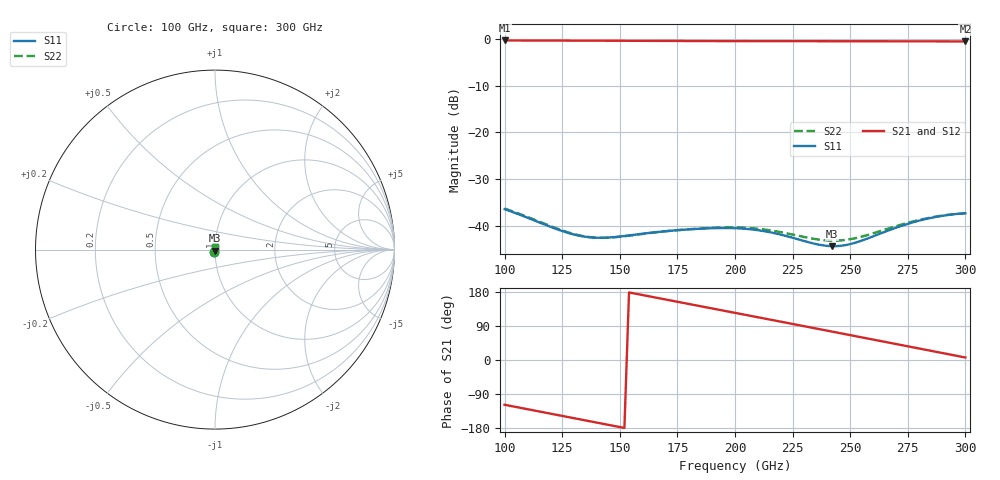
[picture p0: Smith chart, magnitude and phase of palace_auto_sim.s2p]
#  GHZ S DB R 50
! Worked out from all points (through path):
!   101 points, 100 GHz to 300 GHz, reference 50 ohm
!   highest |S21| = -0.34 dB at 100 GHz (marker M1); lowest = -0.5 dB at 300 GHz (marker M2)
!   group delay of S21, straight-line fit = 3.26 ps
!   lowest |S11| = -44.3 dB at 242 GHz (marker M3), VSWR 1.01, Z = 49.8 - j0.576 ohm
!   |S11| at or under -10 dB: start of sweep to end of sweep
!   |S22| runs from -43.1 to -36.2 dB; largest |S21 - S12| = 1.1e-14
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100  -36.38 -115.0  -0.34 -118.1  -0.34 -118.1  -36.24 -115.0
108  -37.83 -131.3  -0.35 -127.6  -0.35 -127.6  -37.68 -131.3
118  -39.78 -155.6  -0.36 -139.3  -0.36 -139.3  -39.62 -155.3
126  -41.22 -179.0  -0.37 -148.7  -0.37 -148.7  -41.08 -178.3
134  -42.20 154.7  -0.39 -158.1  -0.39 -158.1  -42.13 155.5
142  -42.49 128.0  -0.40 -167.6  -0.40 -167.6  -42.50 128.5
152  -42.11 98.2  -0.41 -179.3  -0.41 -179.3  -42.17 98.0
160  -41.62 78.6  -0.43 171.3  -0.43 171.3  -41.67 77.8
168  -41.17 62.2  -0.44 161.9  -0.44 161.9  -41.20 60.8
176  -40.83 48.2  -0.45 152.5  -0.45 152.5  -40.83 46.3
184  -40.58 35.5  -0.47 143.1  -0.47 143.1  -40.54 33.0
200  -40.45 8.9  -0.49 124.4  -0.49 124.4  -40.28 5.6
210  -40.87 -10.8  -0.49 112.7  -0.49 112.7  -40.57 -14.5
218  -41.60 -29.2  -0.49 103.3  -0.49 103.3  -41.13 -33.2
226  -42.63 -51.0  -0.50 93.9  -0.50 93.9  -41.91 -54.7
234  -43.70 -77.4  -0.50 84.5  -0.50 84.5  -42.70 -79.9
242  -44.28 -108.7  -0.50 75.1  -0.50 75.1  -43.11 -108.6
252  -43.58 -148.9  -0.51 63.3  -0.51 63.3  -42.60 -145.4
268  -40.67 161.6  -0.52 44.4  -0.52 44.4  -40.30 166.0
284  -38.35 127.2  -0.53 25.5  -0.53 25.5  -38.26 130.5
292  -37.65 112.9  -0.54 16.0  -0.54 16.0  -37.62 115.5
300  -37.25 99.6  -0.55 6.6  -0.55 6.6  -37.28 101.6
